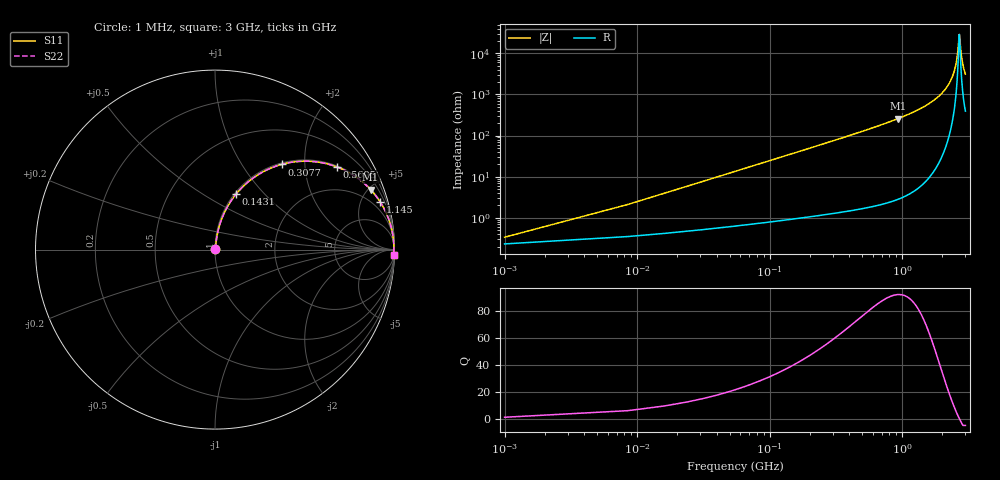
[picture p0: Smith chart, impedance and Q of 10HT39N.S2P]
! Coilcraft 1008HT-39N Chip Inductor
! 16 July 2002
# MHZ S MA R 50
!Freq  MagS11  AngS11  MagS21  AngS21  MagS12  AngS12  MagS22  AngS22
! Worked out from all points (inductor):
!   402 points, 1 MHz to 3 GHz, reference 50 ohm
!   read as one part in series: L = 39 nH near 15.96 MHz
!   highest Q = 91.8 at 928.5 MHz (marker M1), where L = 44.2 nH
!   self-resonance near 2.701 GHz
!   S11 on the Smith chart (normalised r, x): 1 MHz: 1.00, +0.00; 143.1 MHz: 1.02, +0.70; 307.7 MHz: 1.03, +1.53; 569.5 MHz: 1.04, +2.92; 1.145 GHz: 1.08, +6.84; 3 GHz: 9, -62
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1  0.003366 46.4  0.9977 -0.1  0.9977 -0.1  0.003366 46.4
23.44  0.05727 82.1  0.9937 -3.3  0.9937 -3.3  0.05727 82.1
38.4  0.09335 81.3  0.9902 -5.3  0.9902 -5.3  0.09335 81.3
75.8  0.1816 77.4  0.9765 -10.5  0.9765 -10.5  0.1816 77.4
143.12  0.3292 69.3  0.9357 -19.2  0.9357 -19.2  0.3292 69.3
307.68  0.6022 52.0  0.7883 -37.0  0.7883 -37.0  0.6022 52.0
502.16  0.7818 37.8  0.6133 -51.4  0.6133 -51.4  0.7818 37.8
569.48  0.8204 34.2  0.5617 -55.1  0.5617 -55.1  0.8204 34.2
928.52  0.929 21.1  0.3601 -68.3  0.3601 -68.3  0.929 21.1
1003.32  0.9405 19.3  0.3298 -70.1  0.3298 -70.1  0.9405 19.3
1145.44  0.957 16.2  0.2796 -73.1  0.2796 -73.1  0.957 16.2
1504.48  0.9804 10.6  0.1835 -78.6  0.1835 -78.6  0.9804 10.6
2005.64  0.9932 5.2  0.09075 -83.1  0.09075 -83.1  0.9932 5.2
2304.84  0.9959 2.8  0.04809 -83.8  0.04809 -83.8  0.9959 2.8
2506.8  0.9966 1.3  0.02279 -80.7  0.02279 -80.7  0.9966 1.3
2604.04  0.9966 0.6  0.01158 -72.8  0.01158 -72.8  0.9966 0.6
2686.32  0.9966 0.1  0.003848 -26.7  0.003848 -26.7  0.9966 0.1
2701.28  0.9965 0.0  0.00346 -1.0  0.00346 -1.0  0.9965 0.0
2783.56  0.9964 -0.5  0.009661 67.6  0.009661 67.6  0.9964 -0.5
2828.44  0.9962 -0.8  0.01426 74.3  0.01426 74.3  0.9962 -0.8
2903.24  0.996 -1.2  0.02197 78.8  0.02197 78.8  0.996 -1.2
3000  0.9955 -1.8  0.03177 81.0  0.03177 81.0  0.9955 -1.8
